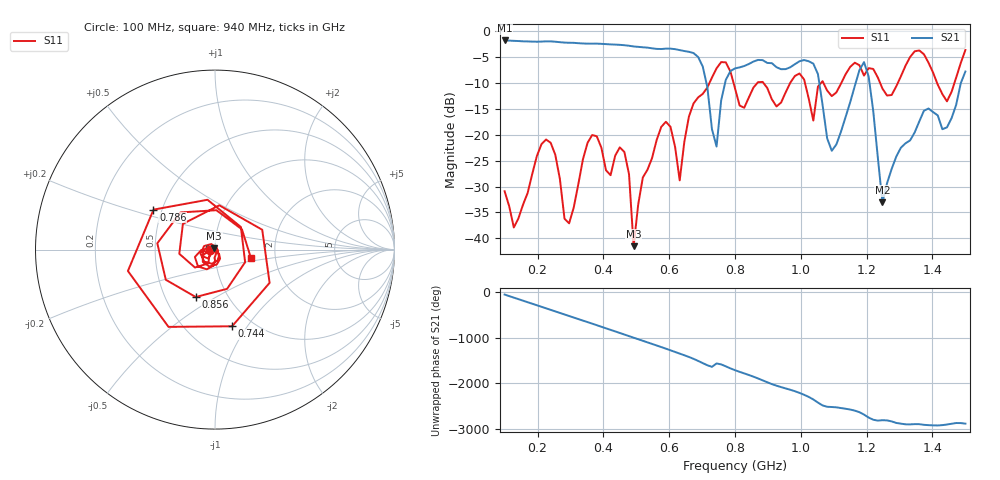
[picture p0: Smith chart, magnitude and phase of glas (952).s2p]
! NanoVNA-App
! Date: 2025-09-25 16:02:53
! Start: 100MHz Stop: 1,5GHz Points: 101
! S-Parameter data: F S11 S21 S12 S22
# Hz S RI R 50
!  Frequency  S11_Real  S11_Imag  S21_Real  S21_Imag  S12_Real  S12_Imag  S22_Real  S22_Imag
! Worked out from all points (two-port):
!   101 points, 100 MHz to 1.5 GHz, reference 50 ohm
!   highest |S21| = -1.80 dB at 100 MHz (marker M1); lowest = -33.1 dB at 1.248 GHz (marker M2)
!   |S21| within 3 dB of the highest: start of sweep to 684.4 MHz
!   lowest |S11| = -41.5 dB at 492 MHz (marker M3), VSWR 1.02, Z = 49.4 + j0.623 ohm
!   |S11| at or under -10 dB: start of sweep to 722.5 MHz; 795.6 MHz to 868.1 MHz (72.51 MHz wide, 8.72 % of centre); 886.3 MHz to 967.7 MHz (81.4 MHz wide, 8.78 % of centre) (the widest 3 of 7)
!   S12 and S22 are empty: the file has one direction only
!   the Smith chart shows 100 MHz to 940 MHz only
!   S11 on the Smith chart (normalised r, x): 100 MHz: 0.94, -0.01; 744 MHz: 0.81, -0.85; 786 MHz: 0.45, +0.24; 856 MHz: 0.71, -0.41; 940 MHz: 1.49, -0.14
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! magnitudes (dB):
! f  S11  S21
! 100 MHz  -30.9  -1.8
! 128 MHz  -37.9  -1.9
! 226 MHz  -20.9  -2.0
! 296 MHz  -37.1  -2.2
! 338 MHz  -24.7  -2.4
! 464 MHz  -23.4  -2.7
! 492 MHz  -41.5  -3.0
! 576 MHz  -18.5  -3.5
! 632 MHz  -28.8  -3.7
! 702 MHz  -12.1  -6.8
! 744 MHz  -7.2  -22.3
! 786 MHz  -7.8  -7.7
! 800 MHz  -11.0  -7.2
! 856 MHz  -10.9  -5.9
! 940 MHz  -13.8  -7.3
! 1.038 GHz  -17.3  -6.3
! 1.094 GHz  -12.5  -23.1
! 1.192 GHz  -8.6  -6.0
! 1.248 GHz  -11.1  -33.1
! 1.276 GHz  -12.3  -26.6
! 1.444 GHz  -13.6  -18.6
! 1.5 GHz  -3.6  -7.8
